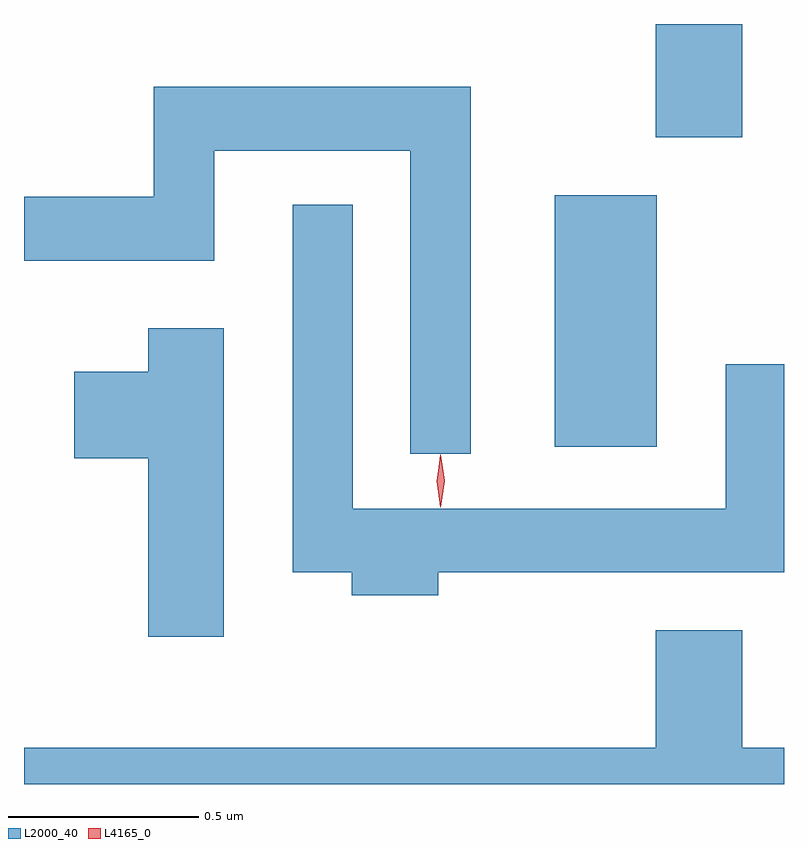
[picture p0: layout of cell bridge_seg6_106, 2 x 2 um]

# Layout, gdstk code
import gdstk
lib = gdstk.Library(unit=1e-6, precision=1e-09)
def R(c, l, rs):  # rectangles x0, y0, x1, y1
    for r in rs: c.add(gdstk.rectangle(r[:2], r[2:], *l))
def P(c, l, *ps):  # polygons
    for p in ps: c.add(gdstk.Polygon(p, *l))
L2000_40 = (2000, 40)
L4165_0 = (4165, 0)

bridge_seg6_106 = lib.new_cell('bridge_seg6_106')
R(bridge_seg6_106, L2000_40, [(1057.006,1619.916,1057.274,1620.579), (1057.271,1620.731,1057.499,1621.029)])
P(bridge_seg6_106, L2000_40, [(1056.784,1620.864),(1055.951,1620.864),(1055.951,1620.574),(1055.609,1620.574),(1055.609,1620.406),(1056.109,1620.406),(1056.109,1620.696),(1056.626,1620.696),(1056.626,1619.898),(1056.784,1619.898)],
  [(1056.699,1619.586),(1057.609,1619.586),(1057.609,1620.133),(1057.456,1620.133),(1057.456,1619.754),(1056.474,1619.754),(1056.474,1620.553),(1056.316,1620.553),(1056.316,1619.586),(1056.471,1619.586),(1056.471,1619.526),(1056.699,1619.526)],
  [(1056.134,1620.229),(1055.936,1620.229),(1055.936,1620.114),(1055.741,1620.114),(1055.741,1619.886),(1055.936,1619.886),(1055.936,1619.416),(1056.134,1619.416)],
  [(1055.609,1619.029),(1057.609,1619.029),(1057.609,1619.124),(1057.499,1619.124),(1057.499,1619.434),(1057.271,1619.434),(1057.271,1619.124),(1055.609,1619.124)])
P(bridge_seg6_106, L4165_0, [(1056.705,1619.757),(1056.696,1619.827),(1056.705,1619.896),(1056.706,1619.896),(1056.706,1619.896),(1056.716,1619.827),(1056.706,1619.757),(1056.706,1619.757)],
  [(1056.705,1619.76),(1056.705,1619.76),(1056.695,1619.826),(1056.705,1619.892),(1056.705,1619.893),(1056.706,1619.892),(1056.715,1619.826),(1056.706,1619.76)])

lib.write_gds('bridge_seg6_106.gds')
